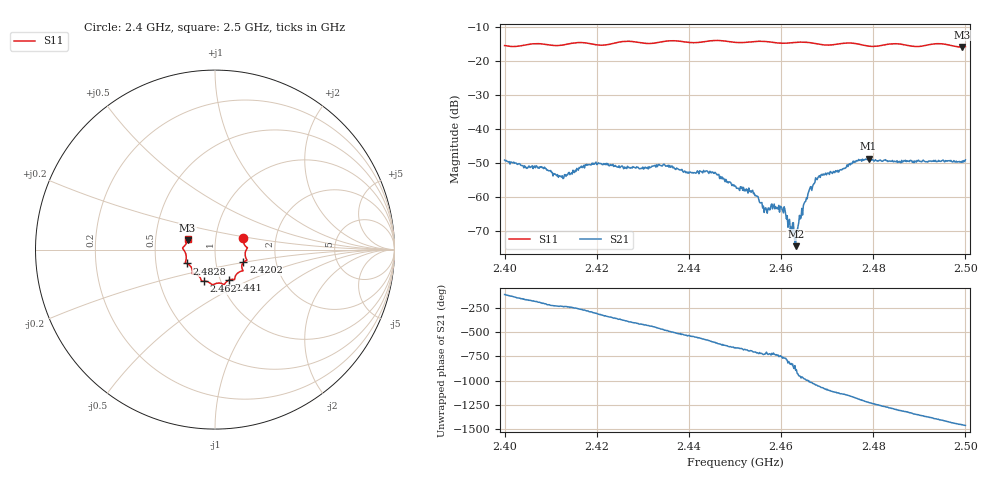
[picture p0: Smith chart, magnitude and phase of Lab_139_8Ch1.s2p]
# Hz S RI R 50
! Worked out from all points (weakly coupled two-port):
!   601 points, 2.4 GHz to 2.5 GHz, reference 50 ohm
!   highest |S21| = -48.68 dB at 2.479 GHz (marker M1); lowest = -74.3 dB at 2.4632 GHz (marker M2)
!   lowest |S11| = -15.8 dB at 2.4993 GHz (marker M3), VSWR 1.39, Z = 36.5 + j3.86 ohm
!   |S11| at or under -10 dB: start of sweep to end of sweep
!   S12 and S22 are empty: the file has one direction only
!   S11 on the Smith chart (normalised r, x): 2.4 GHz: 1.36, +0.18; 2.4202 GHz: 1.36, -0.20; 2.441 GHz: 1.10, -0.39; 2.462 GHz: 0.84, -0.30; 2.4828 GHz: 0.72, -0.12; 2.5 GHz: 0.73, +0.09
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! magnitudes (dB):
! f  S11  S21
! 2.4 GHz  -15.4  -49.1
! 2.4085 GHz  -15.0  -51.6
! 2.4123 GHz  -15.3  -54.1
! 2.4167 GHz  -14.5  -50.8
! 2.4202 GHz  -15.2  -50.2
! 2.4333 GHz  -14.5  -50.4
! 2.441 GHz  -14.6  -52.9
! 2.4455 GHz  -13.9  -52.9
! 2.45 GHz  -14.5  -56.8
! 2.4535 GHz  -14.3  -58.5
! 2.4565 GHz  -14.2  -63.2
! 2.4603 GHz  -14.7  -63.9
! 2.462 GHz  -14.6  -69.5
! 2.4632 GHz  -14.5  -74.3
! 2.465 GHz  -14.4  -61.7
! 2.4667 GHz  -14.6  -58.0
! 2.4687 GHz  -15.1  -53.4
! 2.479 GHz  -15.6  -48.7
! 2.4828 GHz  -15.1  -49.2
! 2.4833 GHz  -15.0  -49.4
! 2.4993 GHz  -15.8  -49.3
! 2.5 GHz  -15.7  -49.0
